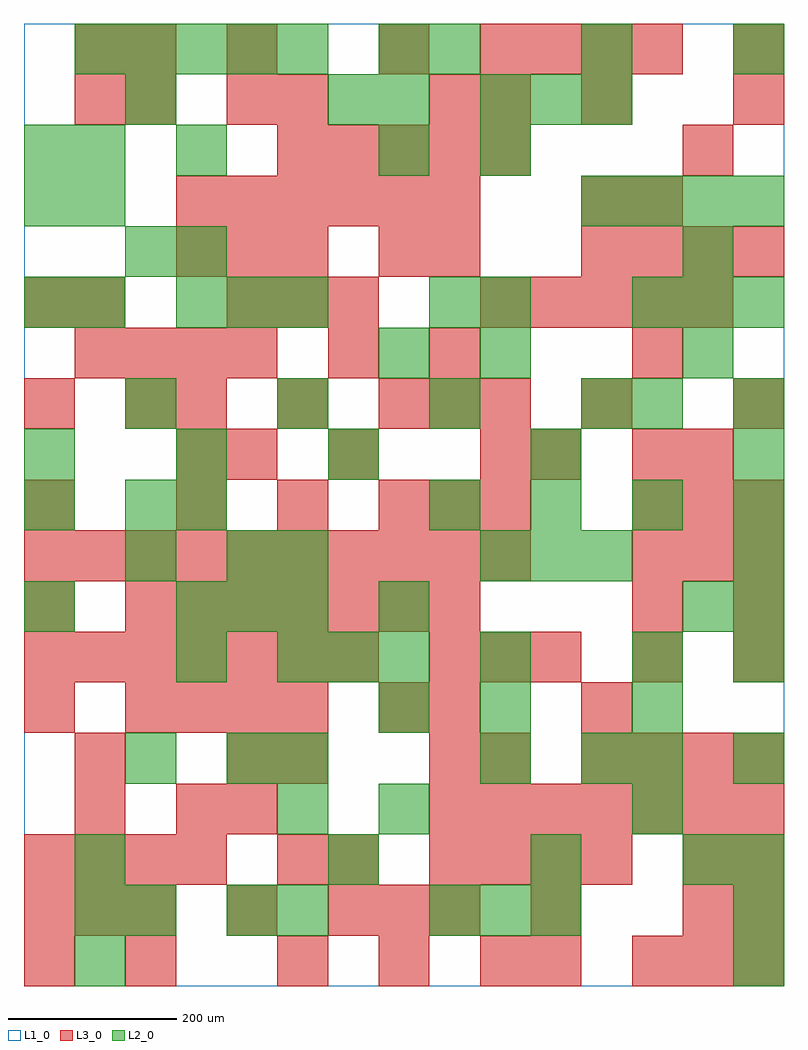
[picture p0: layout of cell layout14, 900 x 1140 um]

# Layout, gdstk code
import gdstk
lib = gdstk.Library(unit=1e-6, precision=1e-09)
def R(c, l, rs):  # rectangles x0, y0, x1, y1
    for r in rs: c.add(gdstk.rectangle(r[:2], r[2:], *l))
def A(c, l, x, y, w, h, nx, ny, dx, dy):  # array of equal rectangles
    R(c, l, [(x+i*dx, y+j*dy, x+i*dx+w, y+j*dy+h) for i in range(nx) for j in range(ny)])
L1_0 = (1, 0)
L2_0 = (2, 0)
L3_0 = (3, 0)

layout14 = lib.new_cell('layout14')
R(layout14, L1_0, [(0,0,900,1140)])
A(layout14, L2_0, 60, 0, 60, 60, 1, 3, 0, 60)
A(layout14, L2_0, 840, 0, 60, 60, 1, 3, 0, 60)
A(layout14, L2_0, 480, 60, 60, 60, 3, 1, 60, 0)
A(layout14, L2_0, 780, 120, 60, 60, 1, 3, 0, 300)
A(layout14, L2_0, 420, 180, 60, 60, 1, 3, 0, 120)
A(layout14, L2_0, 720, 180, 60, 60, 1, 4, 0, 60)
A(layout14, L2_0, 540, 240, 60, 60, 1, 3, 0, 60)
A(layout14, L2_0, 300, 360, 60, 60, 3, 1, 60, 0)
A(layout14, L2_0, 840, 360, 60, 60, 1, 3, 0, 60)
A(layout14, L2_0, 180, 420, 60, 60, 3, 2, 60, 360)
A(layout14, L2_0, 540, 480, 60, 60, 3, 2, 60, 540)
A(layout14, L2_0, 480, 540, 60, 60, 4, 1, 120, 0)
A(layout14, L2_0, 0, 600, 60, 60, 3, 1, 180, 0)
A(layout14, L2_0, 120, 660, 60, 60, 4, 1, 180, 0)
A(layout14, L2_0, 720, 780, 60, 60, 3, 1, 60, 0)
A(layout14, L2_0, 660, 900, 60, 60, 4, 1, 60, 0)
A(layout14, L2_0, 420, 960, 60, 60, 1, 3, 0, 60)
A(layout14, L2_0, 60, 1080, 60, 60, 5, 1, 60, 0)
A(layout14, L2_0, 480, 1080, 60, 60, 3, 1, 180, 0)
R(layout14, L2_0, [(120,60,180,120), (240,60,300,120), (300,60,360,120), (360,120,420,180), (600,120,660,180), (300,180,360,240), (120,240,180,300), (240,240,300,300), (300,240,360,300), (660,240,720,300), (840,240,900,300), (180,360,240,420), (0,420,60,480), (120,480,180,540), (240,480,300,540), (300,480,360,540), (0,540,60,600), (120,540,180,600), (180,540,240,600), (600,600,660,660), (840,600,900,660), (720,660,780,720), (840,660,900,720), (420,720,480,780), (540,720,600,780), (0,780,60,840), (60,780,120,840), (480,780,540,840), (540,780,600,840), (120,840,180,900), (180,840,240,900), (780,840,840,900), (0,900,60,960), (60,900,120,960), (0,960,60,1020), (60,960,120,1020), (180,960,240,1020), (540,960,600,1020), (120,1020,180,1080), (360,1020,420,1080)])
A(layout14, L3_0, 300, 0, 60, 60, 3, 1, 120, 0)
A(layout14, L3_0, 720, 0, 60, 60, 3, 2, 60, 480)
A(layout14, L3_0, 0, 60, 60, 60, 3, 1, 60, 0)
A(layout14, L3_0, 360, 60, 60, 60, 3, 1, 60, 0)
A(layout14, L3_0, 0, 120, 60, 60, 4, 1, 60, 0)
A(layout14, L3_0, 480, 120, 60, 60, 4, 1, 60, 0)
A(layout14, L3_0, 480, 180, 60, 60, 7, 1, 60, 0)
A(layout14, L3_0, 660, 240, 60, 60, 4, 2, 60, 600)
A(layout14, L3_0, 0, 300, 60, 60, 1, 5, 0, 120)
A(layout14, L3_0, 120, 300, 60, 60, 4, 1, 60, 0)
A(layout14, L3_0, 0, 360, 60, 60, 7, 1, 60, 0)
A(layout14, L3_0, 480, 360, 60, 60, 3, 1, 60, 0)
A(layout14, L3_0, 120, 420, 60, 60, 7, 1, 60, 0)
A(layout14, L3_0, 0, 480, 60, 60, 10, 1, 60, 0)
A(layout14, L3_0, 180, 540, 60, 60, 3, 2, 120, 120)
A(layout14, L3_0, 540, 540, 60, 60, 1, 3, 0, 60)
A(layout14, L3_0, 720, 540, 60, 60, 3, 1, 60, 0)
A(layout14, L3_0, 60, 720, 60, 60, 4, 1, 60, 0)
A(layout14, L3_0, 240, 780, 60, 60, 3, 1, 60, 0)
A(layout14, L3_0, 540, 780, 60, 60, 5, 1, 60, 0)
A(layout14, L3_0, 180, 840, 60, 60, 3, 1, 60, 0)
A(layout14, L3_0, 180, 900, 60, 60, 6, 1, 60, 0)
A(layout14, L3_0, 300, 960, 60, 60, 5, 1, 60, 0)
A(layout14, L3_0, 540, 1080, 60, 60, 4, 1, 60, 0)
R(layout14, L3_0, [(0,0,60,60), (120,0,180,60), (600,0,660,60), (240,60,300,120), (600,60,660,120), (780,60,840,120), (840,60,900,120), (300,120,360,180), (360,120,420,180), (780,120,840,180), (840,120,900,180), (60,180,120,240), (180,180,240,240), (240,180,300,240), (60,240,120,300), (240,240,300,300), (300,240,360,300), (480,240,540,300), (540,240,600,300), (420,300,480,360), (480,300,540,360), (660,300,720,360), (720,360,780,420), (840,360,900,420), (720,420,780,480), (840,420,900,480), (480,540,540,600), (180,600,240,660), (240,600,300,660), (360,600,420,660), (600,600,660,660), (720,600,780,660), (780,600,840,660), (120,660,180,720), (480,660,540,720), (660,660,720,720), (840,660,900,720), (360,720,420,780), (480,720,540,780), (720,720,780,780), (60,780,120,840), (420,840,480,900), (480,840,540,900), (660,900,720,960), (720,900,780,960), (780,960,840,1020), (60,1020,120,1080), (120,1020,180,1080), (240,1020,300,1080), (300,1020,360,1080), (480,1020,540,1080), (540,1020,600,1080), (660,1020,720,1080), (840,1020,900,1080), (60,1080,120,1140), (120,1080,180,1140), (240,1080,300,1140), (420,1080,480,1140), (840,1080,900,1140)])

lib.write_gds('layout14.gds')
